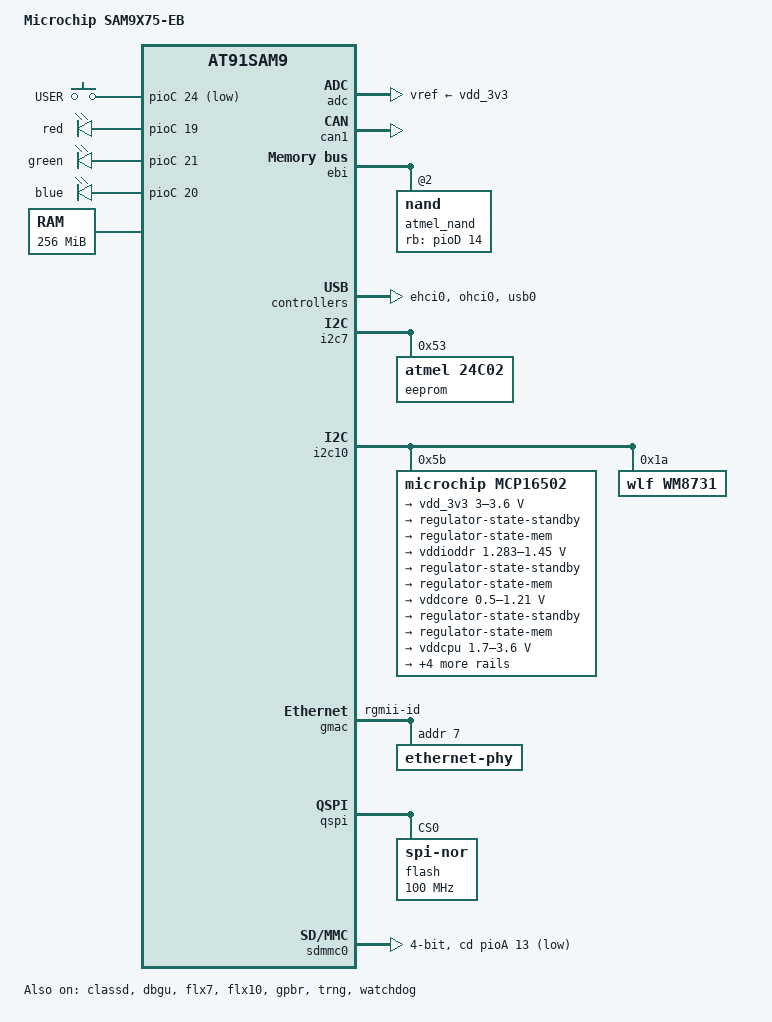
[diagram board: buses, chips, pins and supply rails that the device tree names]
// SPDX-License-Identifier: (GPL-2.0+ OR MIT)
/*
 * at91-sam9x75eb.dts - Device Tree file for Microchip SAM9X75-EB board
 *
 * Copyright (C) 2022 Microchip Technology Inc. and its subsidiaries
 *
 * Author: Varshini Rajendran <varshini.rajendran@microchip.com>
 */
/dts-v1/;
#include "sam9x7.dtsi"
#include <dt-bindings/input/input.h>

/ {
	model = "Microchip SAM9X75-EB";
	compatible = "microchip,sam9x75eb", "microchip,sam9x7", "atmel,at91sam9";

	aliases {
		i2c0 = &i2c7;
		i2c1 = &i2c10;
	};

	chosen {
		stdout-path = "serial0:115200n8";
	};

	clocks {
		slow_xtal {
			clock-frequency = <32768>;
		};

		main_xtal {
			clock-frequency = <24000000>;
		};
	};

	gpio_keys {
		compatible = "gpio-keys";
		pinctrl-names = "default";
		pinctrl-0 = <&pinctrl_key_gpio_default>;
		status = "okay";

		sw1 {
			label = "USER";
			gpios = <&pioC 24 GPIO_ACTIVE_LOW>;
			linux,code = <KEY_0>;
			wakeup-source;
		};
	};

	leds {
		compatible = "gpio-leds";
		pinctrl-names = "default";
		pinctrl-0 = <&pinctrl_led_gpio_default>;
		status = "okay";

		red_led: red-led {
			label = "red";
			gpios = <&pioC 19 GPIO_ACTIVE_HIGH>;
		};

		green_led: green-led {
			label = "green";
			gpios = <&pioC 21 GPIO_ACTIVE_HIGH>;
		};

		blue_led: blue-led {
			label = "blue";
			gpios = <&pioC 20 GPIO_ACTIVE_HIGH>;
			linux,default-trigger = "heartbeat";
		};
	};

	memory@20000000 {
		device_type = "memory";
		reg = <0x20000000 0x10000000>;
	};

	sound {
		compatible = "mikroe,mikroe-proto";
		model = "wm8731 @ sam9x75eb";
		i2s-controller = <&i2s>;
		audio-codec = <&wm8731>;
		dai-format = "i2s";
	};
};

&adc {
	vddana-supply = <&vdd_3v3>;
	vref-supply = <&vdd_3v3>;
	pinctrl-names = "default";
	pinctrl-0 = <&pinctrl_adc_default>;
	status = "okay";
};

&can0 {
	pinctrl-names = "default";
	pinctrl-0 = <&pinctrl_can0_default>;
	status = "disabled";	/* Conflict with dbgu0 */
};

&can1 {
	pinctrl-names = "default";
	pinctrl-0 = <&pinctrl_can1_default>;
	status = "okay";
};

&classd {
	pinctrl-names = "default";
	pinctrl-0 = <&pinctrl_classd_default>;
	atmel,pwm-type = "diff";
	atmel,non-overlap-time = <10>;
	status = "okay";
};

&dbgu {
	pinctrl-names = "default";
	pinctrl-0 = <&pinctrl_dbgu>;
	status = "okay";
};

&dma0 {
	status = "okay";
};

&ebi {
	pinctrl-names = "default";
	pinctrl-0 = <&pinctrl_ebi_addr_nand &pinctrl_ebi_data_0_7>;
	status = "okay";

	nand_controller: nand-controller {
		pinctrl-names = "default";
		pinctrl-0 = <&pinctrl_nand_oe_we &pinctrl_nand_cs &pinctrl_nand_rb>;
		status = "okay";

		nand@2 {
			reg = <0x2 0x0 0x800000>;
			rb-gpios = <&pioD 14 GPIO_ACTIVE_HIGH>;
			cs-gpios = <&pioD 4 GPIO_ACTIVE_HIGH>;
			nand-bus-width = <8>;
			nand-ecc-mode = "hw";
			nand-ecc-strength = <8>;
			nand-ecc-step-size = <512>;
			nand-on-flash-bbt;
			label = "atmel_nand";
		};
	};
};

&ehci0 {
	status = "okay";
};

&flx7 {
	atmel,flexcom-mode = <ATMEL_FLEXCOM_MODE_TWI>;
	status = "okay";

	i2c7: i2c@600 {
		#address-cells = <1>;
		#size-cells = <0>;
		pinctrl-names = "default";
		pinctrl-0 = <&pinctrl_flx7_default>;
		i2c-analog-filter;
		i2c-digital-filter;
		i2c-digital-filter-width-ns = <35>;
		status = "okay";

		eeprom@53 {
			compatible = "atmel,24c02";
			reg = <0x53>;
			pagesize = <16>;
			status = "okay";
		};
	};
};

&flx10 {
	atmel,flexcom-mode = <ATMEL_FLEXCOM_MODE_TWI>;
	status = "okay";

	i2c10: i2c@600 {
		#address-cells = <1>;
		#size-cells = <0>;
		pinctrl-names = "default";
		pinctrl-0 = <&pinctrl_flx10_default>;
		i2c-analog-filter;
		i2c-digital-filter;
		i2c-digital-filter-width-ns = <35>;
		status = "okay";

		mcp16502@5b {
			compatible = "microchip,mcp16502";
			reg = <0x5b>;
			status = "okay";

			regulators {
				vdd_3v3: VDD_IO {
					regulator-name = "VDD_IO";
					regulator-min-microvolt = <3000000>;
					regulator-max-microvolt = <3600000>;
					regulator-initial-mode = <2>;
					regulator-allowed-modes = <2>, <4>;
					regulator-always-on;

					regulator-state-standby {
						regulator-on-in-suspend;
						regulator-mode = <4>;
					};

					regulator-state-mem {
						regulator-mode = <4>;
					};
				};

				vddioddr: VDD_DDR {
					regulator-name = "VDD_DDR";
					regulator-min-microvolt = <1283000>;
					regulator-max-microvolt = <1450000>;
					regulator-initial-mode = <2>;
					regulator-allowed-modes = <2>, <4>;
					regulator-always-on;

					regulator-state-standby {
						regulator-on-in-suspend;
						regulator-mode = <4>;
					};

					regulator-state-mem {
						regulator-on-in-suspend;
						regulator-mode = <4>;
					};
				};

				vddcore: VDD_CORE {
					regulator-name = "VDD_CORE";
					regulator-min-microvolt = <500000>;
					regulator-max-microvolt = <1210000>;
					regulator-initial-mode = <2>;
					regulator-allowed-modes = <2>, <4>;
					regulator-always-on;

					regulator-state-standby {
						regulator-on-in-suspend;
						regulator-mode = <4>;
					};

					regulator-state-mem {
						regulator-mode = <4>;
					};
				};

				vddcpu: VDD_OTHER {
					regulator-name = "VDD_OTHER";
					regulator-min-microvolt = <1700000>;
					regulator-max-microvolt = <3600000>;
					regulator-initial-mode = <2>;
					regulator-allowed-modes = <2>, <4>;
					regulator-ramp-delay = <3125>;
					regulator-always-on;

					regulator-state-standby {
						regulator-on-in-suspend;
						regulator-mode = <4>;
					};

					regulator-state-mem {
						regulator-mode = <4>;
					};
				};

				vldo1: LDO1 {
					regulator-name = "LDO1";
					regulator-min-microvolt = <1200000>;
					regulator-max-microvolt = <3700000>;
					regulator-always-on;

					regulator-state-standby {
						regulator-on-in-suspend;
					};
				};

				vldo2: LDO2 {
					regulator-name = "LDO2";
					regulator-min-microvolt = <1200000>;
					regulator-max-microvolt = <3700000>;

					regulator-state-standby {
						regulator-on-in-suspend;
					};
				};
			};
		};

		wm8731: codec@1a {
			compatible = "wlf,wm8731";
			reg = <0x1a>;
		};
	};
};

&gmac {
	phy-mode = "rgmii-id";
	#address-cells = <1>;
	#size-cells = <0>;

	pinctrl-names = "default";
	pinctrl-0 = <&pinctrl_macb0_rgmii>;
	magic-packet;
	status = "okay";

	ethernet-phy@7 {
		reg = <0x7>;
	};
};

&gpbr {
	status = "okay";
};

&i2s {
	pinctrl-names = "default";
	pinctrl-0 = <&pinctrl_i2s_default>;
	#sound-dai-cells = <0>;
	status = "disabled"; /* Conflict with qspi */
};

&ohci0 {
	num-ports = <3>;
	atmel,vbus-gpio = <0
			   &pioC 27 GPIO_ACTIVE_HIGH
			   &pioC 29 GPIO_ACTIVE_HIGH>;
	pinctrl-names = "default";
	pinctrl-0 = <&pinctrl_usb_default>;
	status = "okay";
};

&pinctrl {
	adc {
		pinctrl_adc_default: adc-default {
			atmel,pins = <AT91_PIOA 30 AT91_PERIPH_A AT91_PINCTRL_NONE>;
		};
	};

	can0 {
		pinctrl_can0_default: can0 {
			atmel,pins = <AT91_PIOA 26 AT91_PERIPH_B AT91_PINCTRL_PULL_UP		/* CAN0 Rx */
				      AT91_PIOA 27 AT91_PERIPH_B AT91_PINCTRL_PULL_UP>;		/* CAN0 Tx */
		};
	};

	can1 {
		pinctrl_can1_default: can1 {
			atmel,pins = <AT91_PIOA 28 AT91_PERIPH_B AT91_PINCTRL_PULL_UP		/* CAN1 Tx */
				      AT91_PIOA 29 AT91_PERIPH_B AT91_PINCTRL_PULL_UP>;		/* CAN1 Rx */
		};
	};

	classd {
		pinctrl_classd_default: classd {
			atmel,pins =
				<AT91_PIOA 18 AT91_PERIPH_C AT91_PINCTRL_PULL_UP
				 AT91_PIOA 19 AT91_PERIPH_C AT91_PINCTRL_PULL_DOWN
				 AT91_PIOA 20 AT91_PERIPH_C AT91_PINCTRL_PULL_UP
				 AT91_PIOA 21 AT91_PERIPH_C AT91_PINCTRL_PULL_DOWN>;
		};
	};

	dbgu {
		pinctrl_dbgu: dbgu-0 {
			atmel,pins = <AT91_PIOA 26 AT91_PERIPH_A AT91_PINCTRL_PULL_UP
				      AT91_PIOA 27 AT91_PERIPH_A AT91_PINCTRL_NONE>;
		};
	};

	ebi {
		pinctrl_ebi_data_0_7: ebi-data-lsb-0 {
			atmel,pins =
				<AT91_PIOD 6 AT91_PERIPH_A (AT91_PINCTRL_NONE | AT91_PINCTRL_SLEWRATE_DIS)
				 AT91_PIOD 7 AT91_PERIPH_A (AT91_PINCTRL_NONE | AT91_PINCTRL_SLEWRATE_DIS)
				 AT91_PIOD 8 AT91_PERIPH_A (AT91_PINCTRL_NONE | AT91_PINCTRL_SLEWRATE_DIS)
				 AT91_PIOD 9 AT91_PERIPH_A (AT91_PINCTRL_NONE | AT91_PINCTRL_SLEWRATE_DIS)
				 AT91_PIOD 10 AT91_PERIPH_A (AT91_PINCTRL_NONE | AT91_PINCTRL_SLEWRATE_DIS)
				 AT91_PIOD 11 AT91_PERIPH_A (AT91_PINCTRL_NONE | AT91_PINCTRL_SLEWRATE_DIS)
				 AT91_PIOD 12 AT91_PERIPH_A (AT91_PINCTRL_NONE | AT91_PINCTRL_SLEWRATE_DIS)
				 AT91_PIOD 13 AT91_PERIPH_A (AT91_PINCTRL_NONE | AT91_PINCTRL_SLEWRATE_DIS)>;
		};

		pinctrl_ebi_addr_nand: ebi-addr-0 {
			atmel,pins =
				<AT91_PIOD 2 AT91_PERIPH_A (AT91_PINCTRL_NONE | AT91_PINCTRL_SLEWRATE_DIS)
				 AT91_PIOD 3 AT91_PERIPH_A (AT91_PINCTRL_NONE | AT91_PINCTRL_SLEWRATE_DIS)>;
		};
	};

	flexcom {
		pinctrl_flx7_default: flx7_twi {
			atmel,pins =
				<AT91_PIOC 0 AT91_PERIPH_C AT91_PINCTRL_PULL_UP
				 AT91_PIOC 1 AT91_PERIPH_C AT91_PINCTRL_PULL_UP>;
		};

		pinctrl_flx10_default: flx10_twi {
			atmel,pins =
				<AT91_PIOC 16 AT91_PERIPH_C AT91_PINCTRL_PULL_UP
				 AT91_PIOC 17 AT91_PERIPH_C AT91_PINCTRL_PULL_UP>;
		};
	};

	gpio_keys {
		pinctrl_key_gpio_default: pinctrl_key_gpio {
			atmel,pins = <AT91_PIOC 24 AT91_PERIPH_GPIO AT91_PINCTRL_NONE>;
		};
	};

	i2s {
		pinctrl_i2s_default: i2s {
			atmel,pins =
				<AT91_PIOB 26 AT91_PERIPH_D AT91_PINCTRL_NONE		/* I2SCK */
				 AT91_PIOB 15 AT91_PERIPH_D AT91_PINCTRL_NONE		/* I2SWS */
				 AT91_PIOB 16 AT91_PERIPH_D AT91_PINCTRL_NONE		/* I2SDIN */
				 AT91_PIOB 17 AT91_PERIPH_D AT91_PINCTRL_NONE		/* I2SDOUT */
				 AT91_PIOB 25 AT91_PERIPH_D AT91_PINCTRL_NONE>;		/* I2SMCK */
		};
	};

	leds {
		pinctrl_led_gpio_default: pinctrl_led_gpio {
			atmel,pins = <AT91_PIOC 19 AT91_PERIPH_GPIO AT91_PINCTRL_NONE
				      AT91_PIOC 21 AT91_PERIPH_GPIO AT91_PINCTRL_NONE
				      AT91_PIOC 20 AT91_PERIPH_GPIO AT91_PINCTRL_NONE>;
		};
	};

	macb0 {
		pinctrl_macb0_rgmii: macb0_rgmii-0 {
			atmel,pins =
				<AT91_PIOB 13 AT91_PERIPH_A  AT91_PINCTRL_SLEWRATE_DIS				/* ETH_TX0   */
				 AT91_PIOB 14 AT91_PERIPH_A  AT91_PINCTRL_SLEWRATE_DIS				/* ETH_TX1   */
				 AT91_PIOB 4  AT91_PERIPH_A  AT91_PINCTRL_SLEWRATE_DIS				/* ETH_TX2   */
				 AT91_PIOB 5  AT91_PERIPH_A  AT91_PINCTRL_SLEWRATE_DIS				/* ETH_TX3   */
				 AT91_PIOB 7  AT91_PERIPH_A  AT91_PINCTRL_SLEWRATE_DIS				/* ETH_TXCTL  */
				 AT91_PIOB 6  AT91_PERIPH_A (AT91_PINCTRL_PULL_UP | AT91_PINCTRL_SLEWRATE_DIS)	/* ETH_TXCK  */

				 AT91_PIOB 11 AT91_PERIPH_A  AT91_PINCTRL_SLEWRATE_DIS				/* ETH_RX0   */
				 AT91_PIOB 12 AT91_PERIPH_A  AT91_PINCTRL_SLEWRATE_DIS				/* ETH_RX1   */
				 AT91_PIOB 0  AT91_PERIPH_A  AT91_PINCTRL_SLEWRATE_DIS				/* ETH_RX2   */
				 AT91_PIOB 1  AT91_PERIPH_A  AT91_PINCTRL_SLEWRATE_DIS				/* ETH_RX3   */
				 AT91_PIOB 8  AT91_PERIPH_A  AT91_PINCTRL_SLEWRATE_DIS				/* ETH_RXCK   */
				 AT91_PIOB 3  AT91_PERIPH_A  AT91_PINCTRL_SLEWRATE_DIS				/* ETH_RXCTL */

				 AT91_PIOB 10 AT91_PERIPH_A     AT91_PINCTRL_NONE				/* ETH_MDC   */
				 AT91_PIOB 9  AT91_PERIPH_A     AT91_PINCTRL_NONE				/* ETH_MDIO  */

				 AT91_PIOB 2  AT91_PERIPH_A  AT91_PINCTRL_SLEWRATE_DIS				/* ETH_125CK */
				 AT91_PIOD 5  AT91_PERIPH_A  AT91_PINCTRL_SLEWRATE_DIS>;			/* ETH_INT   */
		};
	};

	nand {
		pinctrl_nand_oe_we: nand-oe-we-0 {
			atmel,pins =
				<AT91_PIOD 0 AT91_PERIPH_A (AT91_PINCTRL_NONE | AT91_PINCTRL_SLEWRATE_DIS)
				 AT91_PIOD 1 AT91_PERIPH_A (AT91_PINCTRL_NONE | AT91_PINCTRL_SLEWRATE_DIS)>;
		};

		pinctrl_nand_rb: nand-rb-0 {
			atmel,pins =
				<AT91_PIOD 14 AT91_PERIPH_GPIO AT91_PINCTRL_PULL_UP>;
		};

		pinctrl_nand_cs: nand-cs-0 {
			atmel,pins =
				<AT91_PIOD 4 AT91_PERIPH_GPIO AT91_PINCTRL_PULL_UP>;
		};
	};

	ohci0 {
		pinctrl_usb_default: usb_default {
			atmel,pins = <AT91_PIOC 27 AT91_PERIPH_GPIO AT91_PINCTRL_NONE
				      AT91_PIOC 29 AT91_PERIPH_GPIO AT91_PINCTRL_NONE>;
		};
	};

	qspi {
		pinctrl_qspi: qspi {
			atmel,pins =
				<AT91_PIOB 19 AT91_PERIPH_A AT91_PINCTRL_SLEWRATE_DIS					/* QSCK */
				 AT91_PIOB 20 AT91_PERIPH_A AT91_PINCTRL_SLEWRATE_DIS					/* QCS	*/
				 AT91_PIOB 21 AT91_PERIPH_A (AT91_PINCTRL_PULL_UP | AT91_PINCTRL_SLEWRATE_DIS)		/* QIO0	*/
				 AT91_PIOB 22 AT91_PERIPH_A (AT91_PINCTRL_PULL_UP | AT91_PINCTRL_SLEWRATE_DIS)		/* QIO1	*/
				 AT91_PIOB 23 AT91_PERIPH_A (AT91_PINCTRL_PULL_UP | AT91_PINCTRL_SLEWRATE_DIS)		/* QIO2	*/
				 AT91_PIOB 24 AT91_PERIPH_A (AT91_PINCTRL_PULL_UP | AT91_PINCTRL_SLEWRATE_DIS)		/* QIO3	*/
				 AT91_PIOB 26 AT91_PERIPH_A (AT91_PINCTRL_PULL_UP | AT91_PINCTRL_SLEWRATE_DIS)		/* QIO4	*/
				 AT91_PIOB 15 AT91_PERIPH_A (AT91_PINCTRL_PULL_UP | AT91_PINCTRL_SLEWRATE_DIS)		/* QIO5	*/
				 AT91_PIOB 16 AT91_PERIPH_A (AT91_PINCTRL_PULL_UP | AT91_PINCTRL_SLEWRATE_DIS)		/* QIO6	*/
				 AT91_PIOB 17 AT91_PERIPH_A (AT91_PINCTRL_PULL_UP | AT91_PINCTRL_SLEWRATE_DIS)		/* QIO7	*/
				 AT91_PIOB 25 AT91_PERIPH_A (AT91_PINCTRL_PULL_UP | AT91_PINCTRL_SLEWRATE_DIS)>;	/* QINT	*/
		};
	};

	sdmmc0 {
		pinctrl_sdmmc0_default: sdmmc0 {
			atmel,pins =
				<AT91_PIOA 2 AT91_PERIPH_A (AT91_PINCTRL_DRIVE_STRENGTH_HI | AT91_PINCTRL_SLEWRATE_DIS)					/* PA2 CK  periph A with pullup */
				 AT91_PIOA 1 AT91_PERIPH_A (AT91_PINCTRL_PULL_UP | AT91_PINCTRL_DRIVE_STRENGTH_HI | AT91_PINCTRL_SLEWRATE_DIS)		/* PA1 CMD periph A with pullup */
				 AT91_PIOA 0 AT91_PERIPH_A (AT91_PINCTRL_PULL_UP | AT91_PINCTRL_DRIVE_STRENGTH_HI | AT91_PINCTRL_SLEWRATE_DIS)		/* PA0 DAT0 periph A */
				 AT91_PIOA 3 AT91_PERIPH_A (AT91_PINCTRL_PULL_UP | AT91_PINCTRL_DRIVE_STRENGTH_HI | AT91_PINCTRL_SLEWRATE_DIS)		/* PA3 DAT1 periph A with pullup */
				 AT91_PIOA 4 AT91_PERIPH_A (AT91_PINCTRL_PULL_UP | AT91_PINCTRL_DRIVE_STRENGTH_HI | AT91_PINCTRL_SLEWRATE_DIS)		/* PA4 DAT2 periph A with pullup */
				 AT91_PIOA 5 AT91_PERIPH_A (AT91_PINCTRL_PULL_UP | AT91_PINCTRL_DRIVE_STRENGTH_HI | AT91_PINCTRL_SLEWRATE_DIS)>;	/* PA5 DAT3 periph A with pullup */
		};
	};

	usb0 {
		pinctrl_usba_vbus: usba_vbus {
			atmel,pins = <AT91_PIOC 26 AT91_PERIPH_GPIO AT91_PINCTRL_NONE>;
		};
	};
}; /* pinctrl */

&poweroff {
	debounce-delay-us = <976>;
	status = "okay";

	input@0 {
		reg = <0>;
	};
};

&qspi {
	pinctrl-names = "default";
	pinctrl-0 = <&pinctrl_qspi>;
	status = "okay";

	flash@0 {
		#address-cells = <1>;
		#size-cells = <1>;
		compatible = "jedec,spi-nor";
		reg = <0>;
		spi-max-frequency = <100000000>;
		spi-tx-bus-width = <8>;
		spi-rx-bus-width = <8>;
		m25p,fast-read;

		at91bootstrap@0 {
			label = "ospi: at91bootstrap";
			reg = <0x0 0x40000>;
		};

		bootloader@40000 {
			label = "ospi: bootloader";
			reg = <0x40000 0xc0000>;
		};

		bootloaderenvred@100000 {
			label = "ospi: bootloader env redundant";
			reg = <0x100000 0x40000>;
		};

		bootloaderenv@140000 {
			label = "ospi: bootloader env";
			reg = <0x140000 0x40000>;
		};

		dtb@180000 {
			label = "ospi: device tree";
			reg = <0x180000 0x80000>;
		};

		kernel@200000 {
			label = "ospi: kernel";
			reg = <0x200000 0x600000>;
		};
	};
};

&rtt {
	atmel,rtt-rtc-time-reg = <&gpbr 0x0>;
};

&sdmmc0 {
	bus-width = <4>;
	pinctrl-names = "default";
	pinctrl-0 = <&pinctrl_sdmmc0_default>;
	cd-gpios = <&pioA 13 GPIO_ACTIVE_LOW>;
	disable-wp;
	status = "okay";
};

&trng {
	status = "okay";
};

&usb0 {
	atmel,vbus-gpio = <&pioC 26 GPIO_ACTIVE_HIGH>;
	pinctrl-names = "default";
	pinctrl-0 = <&pinctrl_usba_vbus>;
	status = "okay";
};

&watchdog {
	status = "okay";
};
